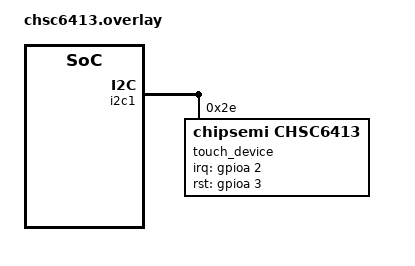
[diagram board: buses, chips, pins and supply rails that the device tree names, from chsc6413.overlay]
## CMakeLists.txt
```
# Copyright (c) 2026 Realtek Semiconductor Corp.
# SPDX-License-Identifier: Apache-2.0
cmake_minimum_required(VERSION 3.20.0)

find_package(Zephyr REQUIRED HINTS $ENV{ZEPHYR_BASE})
project(realtek_touch_smoke)
target_sources(app PRIVATE src/main.c)
target_link_libraries(app PRIVATE realtek_device_driver_library)
```

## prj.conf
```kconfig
CONFIG_REALTEK_TOUCH=y
CONFIG_REALTEK_DISPLAY=n
CONFIG_DISPLAY=n
CONFIG_REALTEK_HONEYGUI=n
CONFIG_MAIN_STACK_SIZE=2048
```

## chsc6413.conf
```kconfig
CONFIG_REALTEK_TOUCH_CHSC6413_ZEPHYR=y
```

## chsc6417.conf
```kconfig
CONFIG_REALTEK_TOUCH_CHSC6417_ZEPHYR=y
```

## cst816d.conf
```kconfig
CONFIG_REALTEK_TOUCH_CST816D_ZEPHYR=y
```

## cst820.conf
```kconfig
CONFIG_REALTEK_TOUCH_CST820_ZEPHYR=y
```

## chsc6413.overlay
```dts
#include "touch_bus.dtsi"
&i2c1 {
    touch_device: touch@2e {
        compatible = "chipsemi,chsc6413";
        reg = <0x2e>;
        irq-gpios = <&gpioa 2 GPIO_ACTIVE_HIGH>;
        rst-gpios = <&gpioa 3 GPIO_ACTIVE_HIGH>;
        gesture-release-timeout-ms = <30>;
        status = "okay";
    };
};
```

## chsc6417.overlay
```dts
/* Compile-smoke wiring based on rtl87x3g_sample; verify pads on real hardware. */
#include <zephyr/dt-bindings/gpio/realtek-rtl87x3g-gpio.h>
#include <zephyr/dt-bindings/pinctrl/rtl87x3g-pinctrl.h>

&gpioa { status = "okay"; };
&pinctrl {
    touch_i2c1_default: touch_i2c1_default {
        group1 {
            psels = <RTL87X3G_PSEL(I2C1_CLK, ADC_0, DIR_OUT, DRV_HIGH, PULL_UP)>,
                    <RTL87X3G_PSEL(I2C1_DAT, ADC_1, DIR_OUT, DRV_HIGH, PULL_UP)>;
        };
    };
};
&i2c1 {
    pinctrl-0 = <&touch_i2c1_default>;
    pinctrl-names = "default";
    status = "okay";
    clock-frequency = <400000>;
    touch_device: touch@2e {
        compatible = "chipsemi,chsc6417";
        reg = <0x2e>;
        irq-gpios = <&gpioa 2 GPIO_ACTIVE_HIGH>;
        rst-gpios = <&gpioa 3 GPIO_ACTIVE_HIGH>;
        gesture-release-timeout-ms = <30>;
        status = "okay";
    };
};
```

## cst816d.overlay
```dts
#include "touch_bus.dtsi"
&i2c1 {
    touch_device: touch@15 {
        compatible = "hynitron,cst816d";
        reg = <0x15>;
        irq-gpios = <&gpioa 2 GPIO_ACTIVE_HIGH>;
        rst-gpios = <&gpioa 3 GPIO_ACTIVE_HIGH>;
        gesture-release-timeout-ms = <30>;
        status = "okay";
    };
};
```

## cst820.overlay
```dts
#include "touch_bus.dtsi"
&i2c1 {
    touch_device: touch@15 {
        compatible = "hynitron,cst820";
        reg = <0x15>;
        irq-gpios = <&gpioa 2 GPIO_ACTIVE_HIGH>;
        rst-gpios = <&gpioa 3 GPIO_ACTIVE_HIGH>;
        gesture-release-timeout-ms = <30>;
        status = "okay";
    };
};
```

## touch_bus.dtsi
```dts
/* Compile-smoke wiring; verify pads on actual hardware. */
#include <zephyr/dt-bindings/gpio/realtek-rtl87x3g-gpio.h>
#include <zephyr/dt-bindings/pinctrl/rtl87x3g-pinctrl.h>

&gpioa { status = "okay"; };
&pinctrl {
    touch_i2c1_default: touch_i2c1_default {
        group1 {
            psels = <RTL87X3G_PSEL(I2C1_CLK, ADC_0, DIR_OUT, DRV_HIGH, PULL_UP)>,
                    <RTL87X3G_PSEL(I2C1_DAT, ADC_1, DIR_OUT, DRV_HIGH, PULL_UP)>;
        };
    };
};
&i2c1 {
    pinctrl-0 = <&touch_i2c1_default>;
    pinctrl-names = "default";
    status = "okay";
    clock-frequency = <400000>;
};
```

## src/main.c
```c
/* Copyright (c) 2026 Realtek Semiconductor Corp.
 * SPDX-License-Identifier: Apache-2.0
 */
#include <zephyr/kernel.h>
#include <zephyr/sys/printk.h>
#include "rtk_touch.h"

int main(void)
{
    printk("touch bound=%d timeout=%u ms\n",
           rtk_touch_get_default() != NULL, rtk_touch_get_timeout_ms());
    while (true)
    {
        rtk_touch_data_t data = rtk_touch_get_data();
        printk("touch press=%d x=%u y=%u\n", data.is_press, data.x, data.y);
        k_sleep(K_MSEC(100));
    }
    return 0;
}
```
